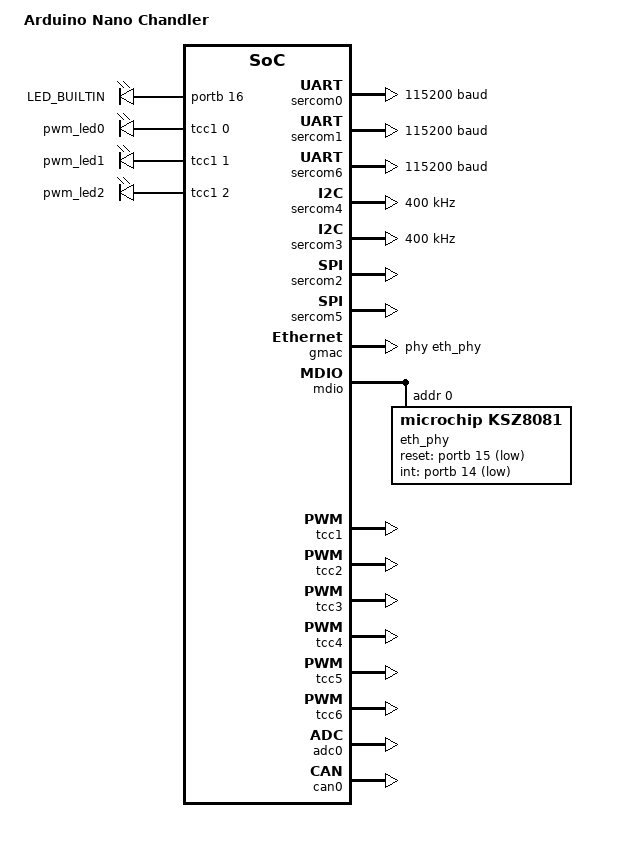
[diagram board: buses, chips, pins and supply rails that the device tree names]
/*
 * Copyright (c) 2026 Arduino SA
 *
 * SPDX-License-Identifier: Apache-2.0
 */

/dts-v1/;
#include <microchip/pic32c/pic32ck_sg_gc/pic32ck_gc01/pic32ck1025gc01144.dtsi>
#include <zephyr/dt-bindings/input/input-event-codes.h>
#include <zephyr/dt-bindings/gpio/gpio.h>
#include <zephyr/dt-bindings/i2c/i2c.h>
#include <dt-bindings/pwm/pwm.h>
#include <dt-bindings/adc/adc.h>
#include <dt-bindings/adc/mchp_pic32ck_gc_adc.h>
#include "arduino_nano_chandler-pinctrl.dtsi"

/ {
	model = "Arduino Nano Chandler";
	compatible = "arduino,nano-chandler", "microchip,pic32ck1025gc01144";

	chosen {
		zephyr,sram = &sram0;
		zephyr,flash = &flash1;
		zephyr,code-partition = &code_partition;
		zephyr,console = &sercom1;
		zephyr,shell-uart = &sercom1;
		zephyr,canbus = &can0;
	};

	aliases {
		led0 = &led_builtin;
	};

	leds {
		compatible = "gpio-leds";

		led_builtin: led_builtin {
			gpios = <&portb 16 GPIO_ACTIVE_HIGH>;
			label = "LED_BUILTIN";
		};
	};

	pwmleds {
		compatible = "pwm-leds";

		pwm_led0: pwm_led_0 {
			pwms = <&tcc1 0 PWM_MSEC(20) 0>;
			status = "okay";
		};

		pwm_led1: pwm_led_1 {
			pwms = <&tcc1 1 PWM_MSEC(20) 0>;
			status = "okay";
		};

		pwm_led2: pwm_led_2 {
			pwms = <&tcc1 2 PWM_MSEC(20) 0>;
			status = "okay";
		};
	};
};

&flash0 {
	/delete-property/ compatible;
};

&nvmctrl {
			compatible = "microchip,nvmctrl-g3";
			reg = <0x44004000 0x7c>, <0x44002000 0x60>;
			reg-names = "fcw", "fcr";
			clocks = <&mclkperiph CLOCK_MCHP_MCLKPERIPH_ID_FCW_AHB>,
				 <&mclkperiph CLOCK_MCHP_MCLKPERIPH_ID_FCW_APB>,
				 <&mclkperiph CLOCK_MCHP_MCLKPERIPH_ID_FCR_AHB>,
				 <&mclkperiph CLOCK_MCHP_MCLKPERIPH_ID_FCR_APB>;
			clock-names = "mclk-fcw-ahb", "mclk-fcw-apb",
				      "mclk-fcr-ahb", "mclk-fcr-apb";
			clock-parent = <&clock>;
			interrupts = <2 0>;
			interrupt-names = "fcw";
			#address-cells = <1>;
			#size-cells = <1>;
			ranges;

			flash1: flash@c000000 {
				compatible = "microchip,flash-g3", "soc-nv-flash";
				reg = <0x0c000000 DT_SIZE_M(1)>;
				write-block-size = <8>;
				write-block-size-quad-dw = <32>;
				write-block-size-row = <DT_SIZE_K(1)>;
				erase-block-size = <DT_SIZE_K(4)>;
				/* gap between boot flash end and program flash start */
				unimplemented-region = <0x08020000 0x0bffffff>;

				partitions {
					compatible = "fixed-partitions";
					#address-cells = <1>;
					#size-cells = <1>;

					code_partition: partition@0 {
						label = "loader";
						reg = <0x0 DT_SIZE_K(816)>;
					};

					user_sketch: partition@cc000 {
						label = "user_sketch";
						reg = <0xcc000 DT_SIZE_K(208)>;
					};
				};
			};
};

&cpu0 {
	clock-frequency = <120000000>;
};

&clock {
	compatible = "microchip,pic32ck-sg-gc-clock";

	xosc: xosc {
		compatible = "microchip,pic32ck-sg-gc-xosc";
		xosc-enable = <1>;
		xosc-xtal-en = <1>;
		xosc-auto-gain-control-loop-en = <0>;
		xosc-clock-switch-back-en = <0>;
		xosc-frequency = <16000000>;
		xosc-on-demand-en = <0>;
		xosc-startup-time = <500000>;
		xosc-clock-failure-detection-en = <0>;
		xosc-safe-clock-frequency = <48>;
		xosc-usbhs-ref-clock-div = "usbhs-pll-ref-xosc-clock-div-1";
	};

	xosc32k: xosc32k {
		compatible = "microchip,pic32ck-sg-gc-xosc32k";
		xosc32k-enable = <0>;
		xosc32k-xtal-en = <0>;
		xosc32k-frequency = <32768>;
		xosc32k-on-demand-en = <0>;
		xosc32k-control-gain-mode = "lower-gain-mode-value";
		xosc32k-servo-loop-en = <1>;
		xosc32k-gain-boost = <1>;
		xosc32k-startup-time = <1000>;
		xosc32k-rtc-clk-selection-en = <1>;
		xosc32k-cfd-en = <0>;
		xosc32k-cfd-prescaler = <0>;
		xosc32k-cfd-switchback-en = <1>;
	};

	dfll48m: dfll48m {
		compatible = "microchip,pic32ck-sg-gc-dfll48m";
		dfll48m-src-gclk = "gclk1";
		dfll48m-enable = <1>;
		dfll48m-closed-loop-en = <0>;
		dfll48m-on-demand-en = <0>;
		dfll48m-usb-clock-recovery-mode = <0>;
		dfll48m-wait-lock-en = <0>;
		dfll48m-quick-lock-dis = <0>;
		dfll48m-chill-cycle-dis = <0>;
		dfll48m-lose-lock-en = <0>;
		dfll48m-stable-freq-en = <0>;
		dfll48m-tune-max-step = <1>;
		dfll48m-multiply-factor = <1>;
	};

	pll: pll {
		compatible = "microchip,pic32ck-sg-gc-pll";

		pll0: pll0 {
			compatible = "microchip,pic32ck-sg-gc-pllchild";

			subsystem = <CLOCK_MCHP_PLL_ID_PLL0>;
			pll-enable = <1>;
			pll-on-demand-en = <0>;
			pll-bandwidth-sel = "bwsel-1";
			pll-src = "xosc";
			pll-ref-division-factor = <4>;
			pll-feedback-divider-factor = <240>;
			pll-freq-division-factor-int = <0>;
			pll-freq-division-factor-rem = <0>;

			pll0out0: pll0out0 {
				compatible = "microchip,pic32ck-sg-gc-pll0out";

				subsystem = <CLOCK_MCHP_PLL0_ID_OUT0>;
				pll-output-division-factor = <8>;
				pll-output-en = <1>;
			};

			pll0out1: pll0out1 {
				compatible = "microchip,pic32ck-sg-gc-pll0out";

				subsystem = <CLOCK_MCHP_PLL0_ID_OUT1>;
				/* 960 MHz VCO / 20 = 48 MHz for USB FS */
				pll-output-division-factor = <20>;
				pll-output-en = <1>;
			};
		};
	};

	gclkgen: gclkgen {
		compatible = "microchip,pic32ck-sg-gc-gclkgen";

		gclkgen0 {
			subsystem = <CLOCK_MCHP_GCLKGEN_ID_GEN0>;
			gclkgen-en = <1>;
			gclkgen-run-in-standby-en = <0>;
			gclkgen-ext-input-frequency = <0>;
			gclkgen-src = "pll0_0";
			gclkgen-output-off-val = "logic-level-0";
			gclkgen-input-frequency = <0>;
			gclkgen-div-select = "div-factor";
			gclkgen-div-factor = <1>;
			gclkgen-duty-50-50-en = <0>;
			gclkgen-out-clock-signal = <0>;
		};

		gclkgen1 {
			subsystem = <CLOCK_MCHP_GCLKGEN_ID_GEN1>;
			gclkgen-en = <1>;
			gclkgen-run-in-standby-en = <0>;
			gclkgen-ext-input-frequency = <0>;
			gclkgen-src = "pll0_0";
			gclkgen-output-off-val = "logic-level-0";
			gclkgen-input-frequency = <0>;
			gclkgen-div-select = "div-factor";
			gclkgen-div-factor = <2>;
			gclkgen-duty-50-50-en = <0>;
			gclkgen-out-clock-signal = <0>;
		};

		/* 48 MHz from PLL0_OUT1, dedicated to USB FS */
		gclkgen2 {
			subsystem = <CLOCK_MCHP_GCLKGEN_ID_GEN2>;
			gclkgen-en = <1>;
			gclkgen-run-in-standby-en = <0>;
			gclkgen-ext-input-frequency = <0>;
			gclkgen-src = "pll0_1";
			gclkgen-output-off-val = "logic-level-0";
			gclkgen-input-frequency = <0>;
			gclkgen-div-select = "div-factor";
			gclkgen-div-factor = <1>;
			gclkgen-duty-50-50-en = <0>;
			gclkgen-out-clock-signal = <0>;
		};
	};

	gclkperiph: gclkperiph {
		compatible = "microchip,pic32ck-sg-gc-gclkperiph";
		#clock-cells = <1>;

		usb0 {
			subsystem = <CLOCK_MCHP_GCLKPERIPH_ID_USB>;
			gclkperiph-src = "gclk2";
			gclkperiph-en = <1>;
		};

		can0 {
			subsystem = <CLOCK_MCHP_GCLKPERIPH_ID_CAN0>;
			gclkperiph-src = "gclk0";
			gclkperiph-en = <1>;
		};
	};

	mclkcpu: mclkcpu {
		compatible = "microchip,pic32ck-sg-gc-mclkcpu";
		mclk-div = "DIV1";
	};

	mclkperiph: mclkperiph {
		compatible = "microchip,pic32ck-sg-gc-mclkperiph";
		#clock-cells = <1>;

		usb0 {
			subsystem = <CLOCK_MCHP_MCLKPERIPH_ID_USB_APB>;
			mclk-en = <1>;
		};

		usbhs0 {
			subsystem = <CLOCK_MCHP_MCLKPERIPH_ID_USBHS_AHB>;
			mclk-en = <1>;
		};
	};
};

&porta {
	status = "okay";
};

&portb {
	status = "okay";
};

&portc {
	status = "okay";
};

&portd {
	status = "okay";
};

/* UART0 -> RS485 PHY (THVD2410). TX=PD06/PAD0, RX=PD07/PAD1, DE=PD05, /RE=PD12. */
&sercom0 {
	compatible = "microchip,sercom-g1-uart";
	#address-cells = <1>;
	#size-cells = <0>;
	current-speed = <115200>;
	data-bits = <8>;
	parity = "none";
	stop-bits = "1";
	rxpo = <1>;	/* RX = PAD1 */
	txpo = <0>;	/* TX = PAD0 */
	pinctrl-0 = <&sercom0_uart_default>;
	pinctrl-names = "default";
	status = "okay";
};

/* UART1 -> user header (J3). Arduino `Serial` / Zephyr console. TX=PD08, RX=PD09. */
&sercom1 {
	compatible = "microchip,sercom-g1-uart";
	#address-cells = <1>;
	#size-cells = <0>;
	current-speed = <115200>;
	data-bits = <8>;
	parity = "none";
	stop-bits = "1";
	rxpo = <1>;	/* RX = PAD1 */
	txpo = <0>;	/* TX = PAD0 */
	pinctrl-0 = <&sercom1_uart_default>;
	pinctrl-names = "default";
	status = "okay";
};

/* UART6 -> user header (J4). TX=PA00, RX=PA01 (mux d). */
&sercom6 {
	compatible = "microchip,sercom-g1-uart";
	#address-cells = <1>;
	#size-cells = <0>;
	current-speed = <115200>;
	data-bits = <8>;
	parity = "none";
	stop-bits = "1";
	rxpo = <1>;	/* RX = PAD1 */
	txpo = <0>;	/* TX = PAD0 */
	pinctrl-0 = <&sercom6_uart_default>;
	pinctrl-names = "default";
	status = "okay";
};

/* I2C / QWIIC connector */
&sercom4 {
	compatible = "microchip,sercom-g1-i2c";
	#address-cells = <1>;
	#size-cells = <0>;
	clock-frequency = <I2C_BITRATE_FAST>;
	pinctrl-0 = <&sercom4_i2c_default>;
	pinctrl-names = "default";
	status = "okay";
};

&sercom3 {
	compatible = "microchip,sercom-g1-i2c";
	#address-cells = <1>;
	#size-cells = <0>;
	clock-frequency = <I2C_BITRATE_FAST>;
	pinctrl-0 = <&sercom3_i2c_default>;
	pinctrl-names = "default";
	status = "okay";
};

&sercom2 {
	compatible = "microchip,sercom-g1-spi";
	#address-cells = <1>;
	#size-cells = <0>;
	dipo = <3>; /* MISO = PAD3 */
	dopo = <0>; /* MOSI = PAD0, SCK = PAD1, CS = PAD2 */
	pinctrl-0 = <&sercom2_spi_default>;
	pinctrl-names = "default";
	status = "okay";
};

&sercom5 {
	compatible = "microchip,sercom-g1-spi";
	#address-cells = <1>;
	#size-cells = <0>;
	dipo = <0>; /* MISO = PAD0 */
	dopo = <2>; /* MOSI = PAD3, SCK = PAD1, CS = PAD2 */
	pinctrl-0 = <&sercom5_spi_default>;
	pinctrl-names = "default";
	status = "okay";
};

&usb0 {
	pinctrl-0 = <&usb_dc_default>;
	pinctrl-names = "default";
	status = "disabled";
};

zephyr_udc0: &hsusb0 {
	status = "disabled";
};

&gmac {
	pinctrl-0 = <&gmac_rmii>;
	pinctrl-names = "default";
	zephyr,random-mac-address;
	phy-handle = <&eth_phy>;
	status = "okay";
};

&mdio {
	pinctrl-0 = <&mdio_default>;
	pinctrl-names = "default";
	status = "okay";

	eth_phy: ethernet-phy@0 {
		compatible = "microchip,ksz8081";
		reg = <0>;
		microchip,interface-type = "rmii-25MHz";
		reset-gpios = <&portb 15 GPIO_ACTIVE_LOW>;
		int-gpios = <&portb 14 (GPIO_ACTIVE_LOW | GPIO_PULL_UP)>;
		status = "okay";
	};
};

&tcc1 {
	compatible = "microchip,tcc-g1-pwm";
	#pwm-cells = <3>;
	pinctrl-0 = <&tcc1_pwm_default>;
	pinctrl-names = "default";
	max-bit-width = <32>;
	prescaler = <1024>;
	status = "okay";
};

&tcc2 {
	compatible = "microchip,tcc-g1-pwm";
	#pwm-cells = <3>;
	pinctrl-0 = <&tcc2_pwm_default>;
	pinctrl-names = "default";
	max-bit-width = <32>;
	prescaler = <1024>;
	status = "okay";
};

&tcc3 {
	compatible = "microchip,tcc-g1-pwm";
	#pwm-cells = <3>;
	pinctrl-0 = <&tcc3_pwm_default>;
	pinctrl-names = "default";
	max-bit-width = <32>;
	prescaler = <1024>;
	status = "okay";
};

&tcc4 {
	compatible = "microchip,tcc-g1-pwm";
	#pwm-cells = <3>;
	pinctrl-0 = <&tcc4_pwm_default>;
	pinctrl-names = "default";
	max-bit-width = <16>;
	prescaler = <1024>;
	status = "okay";
};

&tcc5 {
	compatible = "microchip,tcc-g1-pwm";
	#pwm-cells = <3>;
	pinctrl-0 = <&tcc5_pwm_default>;
	pinctrl-names = "default";
	max-bit-width = <16>;
	prescaler = <1024>;
	status = "okay";
};

&tcc6 {
	compatible = "microchip,tcc-g1-pwm";
	#pwm-cells = <3>;
	pinctrl-0 = <&tcc6_pwm_default>;
	pinctrl-names = "default";
	max-bit-width = <16>;
	prescaler = <1024>;
	status = "okay";
};

&adc0 {
	ctrl-clock-div = <1>;
	adc-div-ratio = <1>;
	adc-wkup-clock-count = <6>;
	pinctrl-0 = <&adc0_default>;
	pinctrl-names = "default";
	status = "okay";
};

/*
 * The PIC32CK1025GC01144 SoC dtsi (pic32ck_sg01_gc01.dtsi) does not pull in 
 * the CAN controller nodes so define CAN0 here directly under /soc.
 */
&{/soc} {
	can0: can@4501e000 {
		compatible = "microchip,mcan-g1";
		reg = <0x4501e000 0x100>;
		interrupts = <143 0>;
		clocks = <&mclkperiph CLOCK_MCHP_MCLKPERIPH_ID_CAN0_AHB>,
			 <&gclkperiph CLOCK_MCHP_GCLKPERIPH_ID_CAN0>;
		clock-names = "mclk", "gclk";
		bosch,mram-cfg = <0x0 28 8 3 3 0 3 3>;
		pinctrl-0 = <&can0_default>;
		pinctrl-names = "default";
		status = "okay";
	};
};

